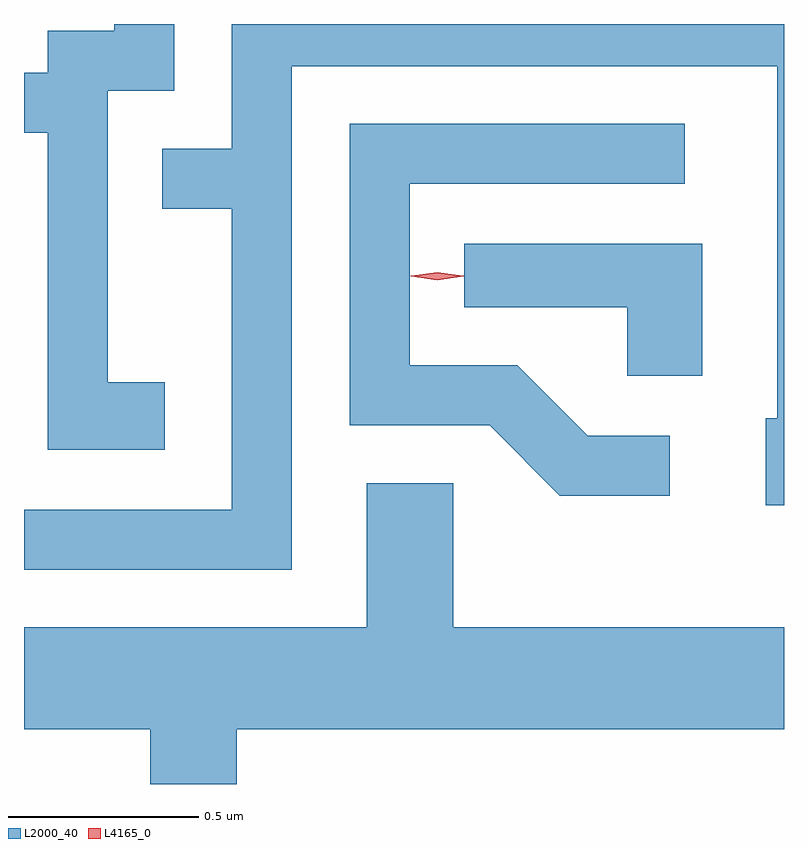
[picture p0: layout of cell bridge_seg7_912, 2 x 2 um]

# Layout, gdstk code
import gdstk
lib = gdstk.Library(unit=1e-6, precision=1e-09)
def P(c, l, *ps):  # polygons
    for p in ps: c.add(gdstk.Polygon(p, *l))
L2000_40 = (2000, 40)
L4165_0 = (4165, 0)

bridge_seg7_912 = lib.new_cell('bridge_seg7_912')
P(bridge_seg7_912, L2000_40, [(280.679,1695.249),(280.529,1695.249),(280.529,1696.016),(280.704,1696.016),(280.704,1696.192),(280.546,1696.192),(280.546,1696.174),(280.371,1696.174),(280.371,1696.064),(280.309,1696.064),(280.309,1695.906),(280.371,1695.906),(280.371,1695.071),(280.679,1695.071)],
  [(281.014,1696.081),(282.291,1696.081),(282.291,1695.154),(282.261,1695.154),(282.261,1694.926),(282.309,1694.926),(282.309,1696.192),(280.856,1696.192),(280.856,1695.864),(280.673,1695.864),(280.673,1695.706),(280.856,1695.706),(280.856,1694.914),(280.309,1694.914),(280.309,1694.756),(281.014,1694.756)],
  [(282.008,1695.109),(281.792,1695.109),(281.607,1695.294),(281.324,1695.294),(281.324,1695.771),(282.048,1695.771),(282.048,1695.929),(281.166,1695.929),(281.166,1695.136),(281.534,1695.136),(281.719,1694.951),(282.008,1694.951)],
  [(282.094,1695.614),(281.468,1695.614),(281.468,1695.446),(281.896,1695.446),(281.896,1695.266),(282.094,1695.266)],
  [(280.869,1694.336),(282.309,1694.336),(282.309,1694.604),(281.439,1694.604),(281.439,1694.984),(281.211,1694.984),(281.211,1694.604),(280.309,1694.604),(280.309,1694.336),(280.641,1694.336),(280.641,1694.192),(280.869,1694.192)])
P(bridge_seg7_912, L4165_0, [(281.396,1695.519),(281.33,1695.528),(281.329,1695.529),(281.33,1695.529),(281.396,1695.539),(281.462,1695.529),(281.463,1695.529),(281.462,1695.528)],
  [(281.396,1695.518),(281.327,1695.528),(281.327,1695.528),(281.327,1695.529),(281.396,1695.538),(281.466,1695.529),(281.466,1695.528),(281.466,1695.528)])

lib.write_gds('bridge_seg7_912.gds')
